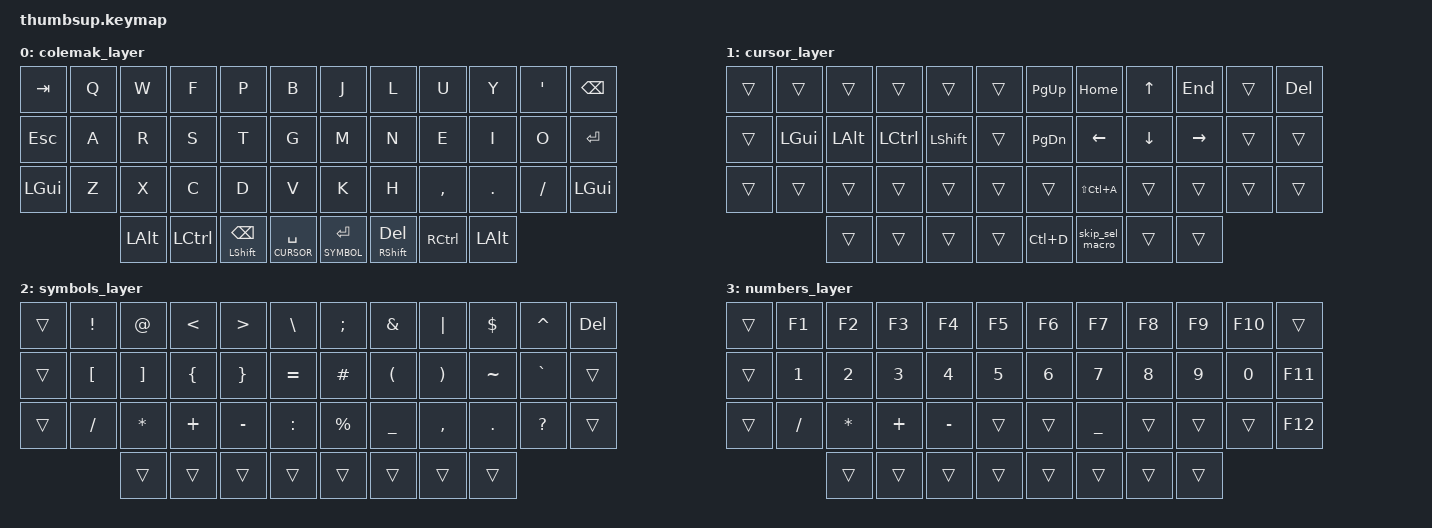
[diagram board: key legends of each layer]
#include <behaviors.dtsi>
#include <dt-bindings/zmk/keys.h>
#include <dt-bindings/zmk/bt.h>
#include <dt-bindings/zmk/mouse.h>

#define DEFAULT 0
#define CURSOR  1
#define SYMBOL  2
#define NUMBER  3

#define COMBO(NAME, BINDINGS, KEYPOS, LAYERS, MS) \
  combo_##NAME { \
    bindings = <BINDINGS>; \
    key-positions = <KEYPOS>; \
    layers = <LAYERS>; \
    timeout-ms = <MS>; \
  };

#define COMBO_TERM_FAST   14
#define COMBO_TERM_NORMAL 20
#define COMBO_TERM_SLOW   45

#define LT_CURSPC &lt CURSOR SPACE
#define LT_SYMRET &lt SYMBOL RET
#define MT_BKSSFT &mt LSHIFT BSPC
#define MT_DELSFT &mt RSHIFT DEL

/ {
    keymap {
        compatible = "zmk,keymap";

        // Colemak Layer (default)
        //     +----------+----------+----------+----------+----------+---------++----------+----------+----------+---------+----------+-----------+
        //     | Tab      | Q        | W        | F        | P        | B       || J        | L        | U        | Y       | '        | Bksp      |
        //     +----------+----------+----------+----------+----------+---------++----------+----------+----------+---------+----------+-----------+
        //     | Esc      | A        | R        | S        | T        | G       || M        | N        | E        | I       | O        | Ent       |
        //     +----------+----------+----------+----------+----------+---------++----------+----------+----------+---------+----------+-----------+
        //     | Win      | Z        | X        | C        | D        | V       || K        | H        | ,        | .       | /        | Win       |
        //     +----------+----------+----------+----------+----------+---------++----------+----------+----------+---------+----------+-----------+
        //                           | Alt      | Control  | Shift    | Spc/Cur || Ret/Sym  | Shift    | Control  | Alt     |
        //                           +----------+----------+----------+---------++----------+----------+----------+---------+
        colemak_layer {
            bindings = <
                &kp TAB    &kp Q      &kp W      &kp F      &kp P      &kp B      &kp J      &kp L      &kp U      &kp Y     &kp SQT    &kp BSPC
                &kp ESC    &kp A      &kp R      &kp S      &kp T      &kp G      &kp M      &kp N      &kp E      &kp I     &kp O      &kp RET
                &kp LGUI   &kp Z      &kp X      &kp C      &kp D      &kp V      &kp K      &kp H      &kp COMMA  &kp DOT   &kp FSLH   &kp LGUI
                                      &kp LALT   &kp LCTRL  MT_BKSSFT  LT_CURSPC  LT_SYMRET  MT_DELSFT  &kp RCTRL  &kp LALT
            >;
        };

        // Cursor Control on the right (Right Space)
        //     +----------+----------+----------+----------+----------+---------++----------+----------+----------+---------+----------+-----------+
        //     |          |          |          |          |          |         || PgUp     | Home     |  Up      | End     |          | Del       |
        //     +----------+----------+----------+----------+----------+---------++----------+----------+----------+---------+----------+-----------+
        //     |          | Win      | Alt      | Ctrl     | Sft      |         || PgDn     | Left     | Down     |Right    |          |           |
        //     +----------+----------+----------+----------+----------+---------++----------+----------+----------+---------+----------+-----------+
        //     |          |          |          |          |          |         ||          | Expand S |          |         |          |           |
        //     +----------+----------+----------+----------+----------+---------++----------+----------+----------+---------+----------+-----------+
        //                           |          |          |          | XXXXXXX || Sel Word | Skp Word |          |         |
        //                           +----------+----------+----------+---------++----------+----------+----------+---------+
        cursor_layer {
            bindings = <
                &trans     &trans     &trans     &trans     &trans     &trans     &kp PG_UP  &kp HOME   &kp UP     &kp END   &trans     &kp DEL
                &trans     &kp LGUI   &kp LALT   &kp LCTRL  &kp LSHIFT &trans     &kp PG_DN  &kp LEFT   &kp DOWN   &kp RIGHT &trans     &trans
                &trans     &trans     &trans     &trans     &trans     &trans     &trans     &kp LS(LC(A)) &trans  &trans    &trans     &trans
                                      &trans     &trans     &trans     &trans     &kp LC(D)  &skip_sel_macro &trans &trans
           >;
        };

        // Numbers on the home row, FNs on the top row, symbols in the second row
        // (Lower or Raise)
        //     +----------+----------+----------+----------+----------+---------++----------+----------+----------+---------+----------+-----------+
        //     |          | !        | @        | <        | >        | \       || ;        | &        | |        | $       | ^        | Del       |
        //     +----------+----------+----------+----------+----------+---------++----------+----------+----------+---------+----------+-----------+
        //     |          | [        | ]        | {        | }        | =       || #        | (        | )        | ~       | `        |           |
        //     +----------+----------+----------+----------+----------+---------++----------+----------+----------+---------+----------+-----------+
        //     |          | /        | *        | +        | -        | :       || %        | _        |   ,      |   .     |   /      |           |
        //     +----------+----------+----------+----------+----------+---------++----------+----------+----------+---------+----------+-----------+
        //                           |          |          |          |         || XXXXXXXX |          |          |         |
        //                           +----------+----------+----------+---------++----------+----------+----------+---------+
        symbols_layer {
            bindings = <
                &trans     &kp EXCL   &kp AT     &kp LT     &kp GT     &kp BSLH   &kp SEMI   &kp AMPS   &kp PIPE   &kp DLLR  &kp CARET  &kp DEL
                &trans     &kp LBKT   &kp RBKT   &kp LBRC   &kp RBRC   &kp EQUAL  &kp HASH   &kp LPAR   &kp RPAR   &kp TILDE &kp GRAVE  &trans
                &trans     &kp FSLH   &kp STAR   &kp PLUS   &kp MINUS  &kp COLON  &kp PRCNT  &kp UNDER  &kp COMMA  &kp DOT   &kp QMARK  &trans
                                      &trans     &trans     &trans     &trans     &trans     &trans     &trans     &trans
            >;
        };

        // Numbers on the home row, FNs on the top row, symbols in the second row
        // (Lower or Raise)
        //     +----------+----------+----------+----------+----------+---------++----------+----------+----------+---------+----------+-----------+
        //     |          |   F1     |   F2     |   F3     |   F4     |   F5    ||   F6     |   F7     |   F8     |   F9    |  F10     |           |
        //     +----------+----------+----------+----------+----------+---------++----------+----------+----------+---------+----------+-----------+
        //     |          |   1      |   2      |   3      |   4      |   5     ||   6      |   7      |   8      |   9     |   0      | F11       |
        //     +----------+----------+----------+----------+----------+---------++----------+----------+----------+---------+----------+-----------+
        //     |          |   /      |   *      |   +      |   -      |         ||          |   _      |          |         |          | F12       |
        //     +----------+----------+----------+----------+----------+---------++----------+----------+----------+---------+----------+-----------+
        //                           |          |          |          | XXXXXXX || XXXXXXXX |          |          |         |
        //                           +----------+----------+----------+---------++----------+----------+----------+---------+
        numbers_layer {
            bindings = <
                &trans     &kp F1     &kp F2     &kp F3     &kp F4     &kp F5     &kp F6     &kp F7     &kp F8     &kp F9    &kp F10    &trans
                &trans     &kp N1     &kp N2     &kp N3     &kp N4     &kp N5     &kp N6     &kp N7     &kp N8     &kp N9    &kp N0     &kp F11
                &trans     &kp FSLH   &kp STAR   &kp PLUS   &kp MINUS  &trans     &trans     &kp UNDER  &trans     &trans    &trans     &kp F12
                                      &trans     &trans     &trans     &trans     &trans     &trans     &trans     &trans
            >;
        };
    };


    combos {
      compatible = "zmk,combos";
      COMBO(escape_cd, &kp ESC, 27 28, 0, COMBO_TERM_NORMAL)
      COMBO(tab_hcomma, &kp TAB, 31 32, 0, COMBO_TERM_NORMAL)
    };

    macros {
      skip_sel_macro: skip_sel_macro {
        label = "skip_sel_sublime";
        compatible = "zmk,behavior-macro";
        #binding-cells = <0>;
        bindings
        = <&macro_tap &kp LC(K) &kp LC(D)>
        ;
      };
    };

    conditional_layers {
        compatible = "zmk,conditional-layers";
        tri_layer {
            if-layers = <CURSOR SYMBOL>;
            then-layer = <NUMBER>;
        };
    };

};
